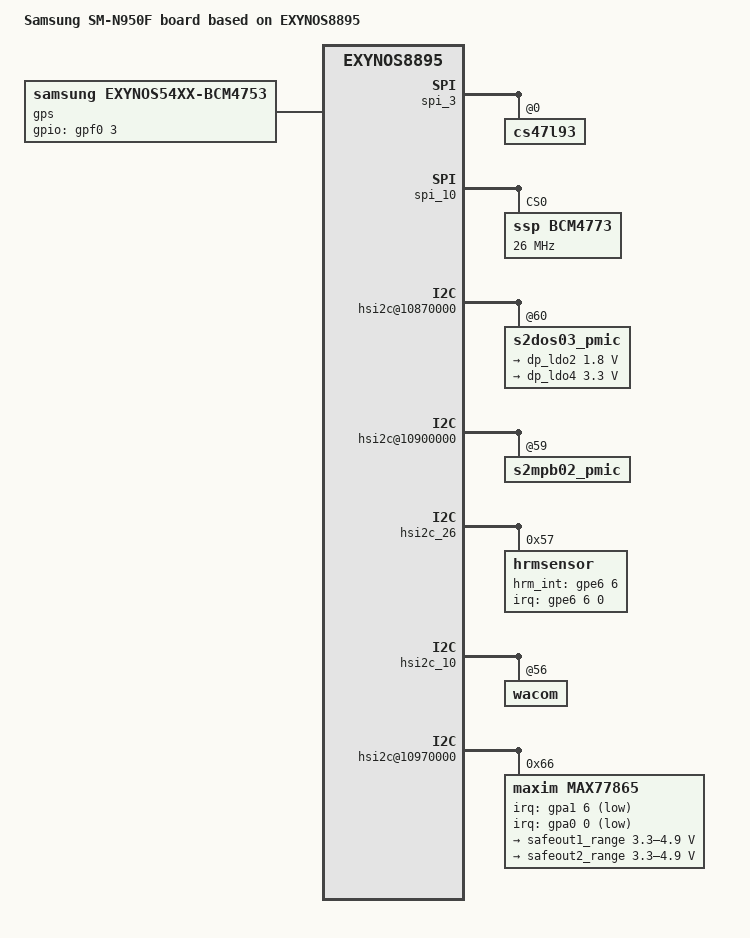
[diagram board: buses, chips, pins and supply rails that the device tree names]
/*
 * SAMSUNG EXYNOS8895 board device tree source
 *
 * Copyright (c) 2016 Samsung Electronics Co., Ltd.
 *		http://www.samsung.com
 *
 * This program is free software; you can redistribute it and/or modify
 * it under the terms of the GNU General Public License version 2 as
 * published by the Free Software Foundation.
*/

/dts-v1/;
#include "exynos8895-greatlte_common.dtsi"
#include "battery_data_greatlte_eur_00.dtsi"
#include "exynos8895-greatlte_motor.dtsi"
#include "exynos8895-greatlte_svcled.dtsi"
#include "ccic-s2mm005_great_00.dtsi"
#include "exynos8895-greatlte_mst_00.dtsi"
#include "exynos8895-greatlte_gpio_03.dtsi"
#include "exynos8895-greatlte_fingerprint-sensor_01.dtsi"

/ {
	model = "Samsung SM-N950F board based on EXYNOS8895";
	model_info-chip = <8895>;
	model_info-platform = "android";
	model_info-subtype = "samsung";
	model_info-hw_rev = <3>;
	model_info-hw_rev_end = <3>;
	compatible = "samsung, SM-N950F rev03", "samsung,EXYNOS8895";

	spi_3: spi@10460000 {
		status = "okay";
		cs47l93: cs47l93@0 {
			cirrus,accdet {
				acc@1 {
					cirrus,hpdet-ext-res = <3300>;
				};
			};
		};
	};

	spi_10: spi@108C0000{
		#address-cells = <1>;
		#size-cells = <0>;
	
		pinctrl-names = "default";
		pinctrl-0 = <&spi1_mosi_sck_ssn &spi1_miso>;

		num-cs = <1>;
		status = "okay";
/*
		dma-mode;
		dmas = <&pdma0 21 0
			&pdma0 20 0>;
*/
		BCM4773@0 {
			compatible = "ssp,BCM4773";
			reg = <0>;
			spi-max-frequency = <26000000>;
			spi-cpol;
			spi-cpha;
			pinctrl-names = "default";
			pinctrl-0 = <&ssp_host_req &ssp_mcu_req &ssp_mcu_resp &ssp_batch_wake_irq>;
		
			gpio-controller;
			#gpio-cells = <2>;
			ssp-host-req = <&gpa3 4 0x00>;
			ssp-mcu-req = <&gpe6 1 0x00>;
			ssp-mcu-resp = <&gpi1 5 0x00>;
			ssp-batch-wake-irq = <&gpa2 5 0x00>;
			ssp-acc-position = <3>;
			ssp-mag-position = <6>;
			ssp-sns-combination = <0>;
			ssp-ap-rev = <1>;
			ssp-mag-array = /bits/ 8 <124 84 219 252 147 75 0 88 213 55 44 69 99 43 255 195 0 194 78 252 191 254 48 35 8 26 151>;
			ssp-glass-type = <0>;
			ssp-mag-type = <1>;
			ssp-vdd-mcu-1p8 = "vdd_mcu_1p8";
			
			controller-data {
				cs-gpio = <&gpe2 6 0>;
				samsung,spi-feedback-delay = <0>;
			};
		};
	};

	gps {
		compatible = "samsung,exynos54xx-bcm4753";

		pinctrl-names = "hub_en";
		pinctrl-0 = <&ssp_gps_pwr_en>;

		gpios = <&gpf0 3 0x0>;
		status = "okay";
	};

	hsi2c@10870000 {
		status = "okay";
		s2dos03_pmic@60 {
			regulators {
				dp_ldo2: s2dos03-ldo2 {
					regulator-name = "HRM_1.8V_AP";
					regulator-min-microvolt = <1800000>;
					regulator-max-microvolt = <1800000>;
				};
				dp_ldo4: s2dos03-ldo4 {
					regulator-name = "HRM_3.3V_AP";
					regulator-min-microvolt = <3300000>;
					regulator-max-microvolt = <3300000>;
				};
			};
		};
	};

	hsi2c@10900000 {
		s2mpb02_pmic@59 {
			regulators {
				_buck2_reg: s2mpb02-buck2 {
					regulator-always-on;
					regulator-boot-on;
				};
			};
		};
	};

	speedy@15B50000{
		status = "okay";
		s2mps17mfd@00 {
			regulators {
				ldo36_reg: LDO36 {
					regulator-name = "VDD_1.8V_ESE";
					regulator-min-microvolt = <1800000>;
					regulator-max-microvolt = <1800000>;
				};
				ldo38_reg: LDO38 {
					regulator-name = "vdd_mcu_1p8";
					regulator-min-microvolt = <1800000>;
					regulator-max-microvolt = <1800000>;
				};
			};
		};
	};

	hsi2c_26: hsi2c@10910000 {
		status = "okay";
		hrmsensor@57 {
			compatible = "hrmsensor";
			reg = <0x57>;
			interrupt-parent = <&gpe6>;
			interrupts = <6 0 0>;
			hrmsensor,hrm_int-gpio = <&gpe6 6 0>;
			pinctrl-names = "default", "sleep", "idle";
			pinctrl-0 = <&hrm_irq>;
			pinctrl-1 = <&hrm_irqsleep>;
			pinctrl-2 = <&hrm_irqidle>;
			hrmsensor,vdd_1p8 = "HRM_1.8V_AP";
			hrmsensor,led_3p3 = "HRM_3.3V_AP";
			hrmsensor,i2c_1p8 = "VDD_NFC_1P8";
		};
	};

	hsi2c_10: hsi2c@10490000 {
		wacom@56 {
			wacom,fw_path = "epen/w9018_great_1coil.fw";
		};
	};

	pinctrl@164B0000 {
		max77865_irq: max77865-irq {
			samsung,pins = "gpa1-6";
			samsung,pin-function = <0xf>;
			samsung,pin-pud = <0>; 
			samsung,pin-drv = <0>; 
		};

		muic_irq: muic-irq {
			samsung,pins = "gpa0-0";
			samsung,pin-pud = <0>; 
			samsung,pin-drv = <0>; 
		};
	};

	hsi2c@10970000 {
		status = "okay";

		max77865@66 {
			compatible = "maxim,max77865";
			pinctrl-names = "default";
			pinctrl-0 = <&max77865_irq &muic_irq &pwm_tout1>;
			reg = <0x66>;
			max77865,irq-gpio = <&gpa1 6 1>;
			muic-universal,irq-gpio = <&gpa0 0 1>;
			muic-universal,chip_name = "max,max77865";
			max77865,wakeup;
			muic,undefined_range;

			regulators {
				ESAFEOUT1 {
					regulator-compatible = "safeout1";
					regulator-name = "safeout1_range";
					regulator-min-microvolt = <3300000>;
					regulator-max-microvolt = <4900000>;
					regulator-boot-on;
				};

				ESAFEOUT2 {
					regulator-compatible = "safeout2";
					regulator-name = "safeout2_range";
					regulator-min-microvolt = <3300000>;
					regulator-max-microvolt = <4900000>;
				};
			};
		};
	};

	pinctrl@164B0000 {
		dp_irq: dp_irq {
			samsung,pins = "gpa3-1";
			samsung,pin-function = <3>;
			samsung,pin-pud = <0>;
		};
	};

	speedy@15B50000{
		status = "okay";
		s2mps17mfd@00 {
			regulators {
				ldo6_reg: LDO6 {
					regulator-name = "vdd_ldo6";
					regulator-min-microvolt = <3100000>;
					regulator-max-microvolt = <3100000>;
					regulator-ramp-delay = <12000>;
				};
				ldo37_reg: LDO37 {
						regulator-name = "VDD_DP_1P8";
						regulator-min-microvolt = <1800000>;
						regulator-max-microvolt = <1800000>;
					};
			};
		};
	};

	displayport: displayport@0x11090000 {
		dp,aux_sw_oe = <&gpf1 5 0>;
		dp,sbu_sw_sel = <&gpe7 5 0>;
		dp,usb_con_sel = <&gpi1 7 0>;
		/*dp,aux_vdd = "VDD_DP_1P8";*/
		dp,hpd_gpio_irq;

		pinctrl-names = "default";
		pinctrl-0 = <&dp_irq>;
	};

	panel_0: panel_drv@001 {
		gpio,lcd-reset = <&gpa0 5 0x1>;
	};
};
